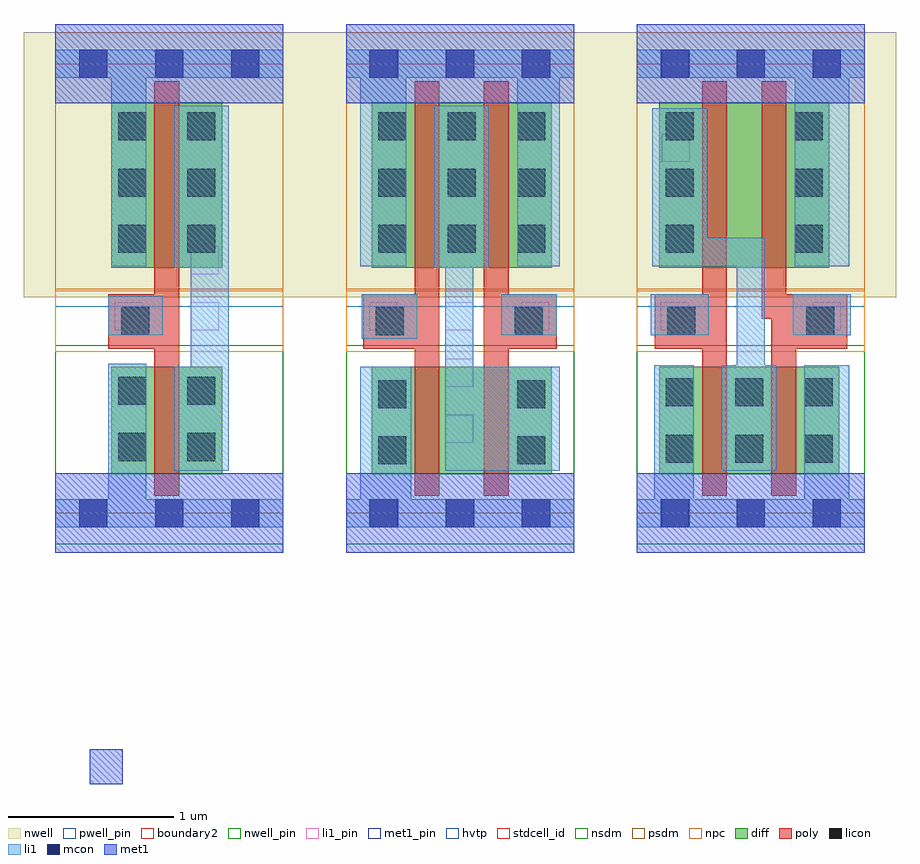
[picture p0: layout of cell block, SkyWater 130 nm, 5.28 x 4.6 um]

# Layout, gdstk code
import gdstk
lib = gdstk.Library(unit=1e-6, precision=1e-09)
def R(c, l, rs):  # rectangles x0, y0, x1, y1
    for r in rs: c.add(gdstk.rectangle(r[:2], r[2:], *l))
def A(c, l, x, y, w, h, nx, ny, dx, dy):  # array of equal rectangles
    R(c, l, [(x+i*dx, y+j*dy, x+i*dx+w, y+j*dy+h) for i in range(nx) for j in range(ny)])
def P(c, l, *ps):  # polygons
    for p in ps: c.add(gdstk.Polygon(p, *l))
nwell_pin = (64, 16)
nwell = (64, 20)
diff = (65, 20)
poly = (66, 20)
licon = (66, 44)
li1_pin = (67, 16)
li1 = (67, 20)
mcon = (67, 44)
met1_pin = (68, 16)
met1 = (68, 20)
hvtp = (78, 44)
stdcell_id = (81, 4)
nsdm = (93, 44)
psdm = (94, 20)
npc = (95, 20)
pwell_pin = (122, 16)
boundary2 = (236, 0)

sky130_fd_sc_hd__inv_1 = lib.new_cell('sky130_fd_sc_hd__inv_1')
R(sky130_fd_sc_hd__inv_1, nwell_pin, [(0.145,2.635,0.315,2.805), (0.145,2.635,0.315,2.805)])
R(sky130_fd_sc_hd__inv_1, nwell, [(-0.19,1.305,1.57,2.91)])
R(sky130_fd_sc_hd__inv_1, diff, [(0.34,0.235,1.01,0.885), (0.34,1.485,1.01,2.485)])
P(sky130_fd_sc_hd__inv_1, poly, [(0.6,0.105),(0.6,0.995),(0.32,0.995),(0.32,1.325),(0.6,1.325),(0.6,2.615),(0.75,2.615),(0.75,0.105)])
A(sky130_fd_sc_hd__inv_1, licon, 0.38, 1.575, 0.17, 0.17, 1, 3, 0, 0.34)
A(sky130_fd_sc_hd__inv_1, licon, 0.8, 1.575, 0.17, 0.17, 1, 3, 0, 0.34)
R(sky130_fd_sc_hd__inv_1, licon, [(0.38,0.315,0.55,0.485), (0.8,0.315,0.97,0.485), (0.38,0.655,0.55,0.825), (0.8,0.655,0.97,0.825), (0.4,1.075,0.57,1.245)])
R(sky130_fd_sc_hd__inv_1, li1_pin, [(0.36,1.105,0.53,1.275), (0.82,1.105,0.99,1.275), (0.82,1.445,0.99,1.615)])
R(sky130_fd_sc_hd__inv_1, li1, [(0,-0.085,1.38,0.085), (0.32,0.005,0.55,0.905), (0.32,1.075,0.65,1.315), (0.34,1.495,0.55,2.675), (0,2.635,1.38,2.805)])
P(sky130_fd_sc_hd__inv_1, li1, [(0.72,0.255),(0.72,0.885),(0.82,0.885),(0.82,1.485),(0.72,1.485),(0.72,2.465),(1.05,2.465),(1.05,0.255)])
A(sky130_fd_sc_hd__inv_1, mcon, 0.145, -0.085, 0.17, 0.17, 3, 2, 0.46, 2.72)
R(sky130_fd_sc_hd__inv_1, met1_pin, [(0.145,-0.085,0.315,0.085), (0.145,-0.085,0.315,0.085), (0.145,2.635,0.315,2.805), (0.145,2.635,0.315,2.805)])
R(sky130_fd_sc_hd__inv_1, hvtp, [(0,1.25,1.38,2.72)])
R(sky130_fd_sc_hd__inv_1, stdcell_id, [(0,0,1.38,2.72)])
R(sky130_fd_sc_hd__inv_1, nsdm, [(0,-0.19,1.38,1.015)])
R(sky130_fd_sc_hd__inv_1, psdm, [(0,1.355,1.38,2.91)])
R(sky130_fd_sc_hd__inv_1, npc, [(0,0.975,1.38,1.345)])
R(sky130_fd_sc_hd__inv_1, pwell_pin, [(0.145,-0.085,0.315,0.085), (0.145,-0.085,0.315,0.085)])
R(sky130_fd_sc_hd__inv_1, boundary2, [(0,0,1.38,2.72)])
sky130_fd_sc_hd__inv_1.add(gdstk.FlexPath([(0,2.72),(1.38,2.72)], 0.48, ends="flush", simple_path=True, layer=68, datatype=20))  # met1
sky130_fd_sc_hd__inv_1.add(gdstk.FlexPath([(0,0),(1.38,0)], 0.48, ends="flush", simple_path=True, layer=68, datatype=20))  # met1
sky130_fd_sc_hd__inv_1.add(gdstk.Label('Y', (0.905,1.53), layer=67, texttype=5))
sky130_fd_sc_hd__inv_1.add(gdstk.Label('Y', (0.905,1.19), layer=67, texttype=5))
sky130_fd_sc_hd__inv_1.add(gdstk.Label('A', (0.445,1.19), layer=67, texttype=5))
sky130_fd_sc_hd__inv_1.add(gdstk.Label('VPB', (0.23,2.72), layer=64, texttype=5))
sky130_fd_sc_hd__inv_1.add(gdstk.Label('VNB', (0.23,0), layer=64, texttype=59))
sky130_fd_sc_hd__inv_1.add(gdstk.Label('VGND', (0.23,0), layer=68, texttype=5))
sky130_fd_sc_hd__inv_1.add(gdstk.Label('VPWR', (0.23,2.72), layer=68, texttype=5))
sky130_fd_sc_hd__inv_1.add(gdstk.Label('inv_1', (0,0), layer=83, texttype=44))

sky130_fd_sc_hd__nand2_1 = lib.new_cell('sky130_fd_sc_hd__nand2_1')
R(sky130_fd_sc_hd__nand2_1, nwell_pin, [(0.14,2.635,0.31,2.805)])
R(sky130_fd_sc_hd__nand2_1, nwell, [(-0.19,1.305,1.57,2.91)])
R(sky130_fd_sc_hd__nand2_1, diff, [(0.155,0.235,1.245,0.885), (0.155,1.485,1.245,2.485)])
P(sky130_fd_sc_hd__nand2_1, poly, [(0.835,0.105),(0.835,2.615),(0.985,2.615),(0.985,1.325),(1.275,1.325),(1.275,0.995),(0.985,0.995),(0.985,0.105)],
  [(0.415,0.105),(0.415,0.995),(0.105,0.995),(0.105,1.325),(0.415,1.325),(0.415,2.615),(0.565,2.615),(0.565,0.105)])
A(sky130_fd_sc_hd__nand2_1, licon, 0.195, 1.575, 0.17, 0.17, 3, 3, 0.42, 0.34)
R(sky130_fd_sc_hd__nand2_1, licon, [(0.195,0.295,0.365,0.465), (1.035,0.295,1.205,0.465), (0.195,0.635,0.365,0.805), (1.035,0.635,1.205,0.805), (0.18,1.075,0.35,1.245), (1.02,1.075,1.19,1.245)])
A(sky130_fd_sc_hd__nand2_1, li1_pin, 0.14, 1.105, 0.17, 0.17, 3, 1, 0.46, 0)
R(sky130_fd_sc_hd__nand2_1, li1_pin, [(0.6,0.425,0.77,0.595), (0.6,0.765,0.77,0.935)])
R(sky130_fd_sc_hd__nand2_1, li1, [(0.095,1.055,0.43,1.325), (0.94,1.075,1.275,1.325)])
P(sky130_fd_sc_hd__nand2_1, li1, [(0,-0.085),(0,0.085),(0.085,0.085),(0.085,0.885),(0.395,0.885),(0.395,0.085),(1.38,0.085),(1.38,-0.085)],
  [(0.085,1.495),(0.085,2.635),(0,2.635),(0,2.805),(1.38,2.805),(1.38,2.635),(1.295,2.635),(1.295,1.495),(1.035,1.495),(1.035,2.635),(0.365,2.635),(0.365,1.495)],
  [(0.6,0.255),(0.6,1.485),(0.535,1.485),(0.535,2.465),(0.865,2.465),(0.865,1.485),(0.77,1.485),(0.77,0.885),(1.295,0.885),(1.295,0.255)])
A(sky130_fd_sc_hd__nand2_1, mcon, 0.145, -0.085, 0.17, 0.17, 3, 2, 0.46, 2.72)
R(sky130_fd_sc_hd__nand2_1, met1_pin, [(0.14,-0.085,0.31,0.085), (0.14,2.635,0.31,2.805)])
R(sky130_fd_sc_hd__nand2_1, hvtp, [(0,1.25,1.38,2.72)])
R(sky130_fd_sc_hd__nand2_1, stdcell_id, [(0,0,1.38,2.72)])
R(sky130_fd_sc_hd__nand2_1, nsdm, [(0,-0.19,1.38,1.015)])
R(sky130_fd_sc_hd__nand2_1, psdm, [(0,1.355,1.38,2.91)])
R(sky130_fd_sc_hd__nand2_1, npc, [(0,0.975,1.38,1.345)])
R(sky130_fd_sc_hd__nand2_1, pwell_pin, [(0.14,-0.085,0.31,0.085)])
R(sky130_fd_sc_hd__nand2_1, boundary2, [(0,0,1.38,2.72)])
sky130_fd_sc_hd__nand2_1.add(gdstk.FlexPath([(0,2.72),(1.38,2.72)], 0.48, ends="flush", simple_path=True, layer=68, datatype=20))  # met1
sky130_fd_sc_hd__nand2_1.add(gdstk.FlexPath([(0,0),(1.38,0)], 0.48, ends="flush", simple_path=True, layer=68, datatype=20))  # met1
sky130_fd_sc_hd__nand2_1.add(gdstk.Label('Y', (0.685,0.51), layer=67, texttype=5))
sky130_fd_sc_hd__nand2_1.add(gdstk.Label('Y', (0.685,0.85), layer=67, texttype=5))
sky130_fd_sc_hd__nand2_1.add(gdstk.Label('Y', (0.685,1.19), layer=67, texttype=5))
sky130_fd_sc_hd__nand2_1.add(gdstk.Label('B', (0.225,1.19), layer=67, texttype=5))
sky130_fd_sc_hd__nand2_1.add(gdstk.Label('A', (1.145,1.19), layer=67, texttype=5))
sky130_fd_sc_hd__nand2_1.add(gdstk.Label('VPB', (0.225,2.72), layer=64, texttype=5))
sky130_fd_sc_hd__nand2_1.add(gdstk.Label('VNB', (0.225,0), layer=64, texttype=59))
sky130_fd_sc_hd__nand2_1.add(gdstk.Label('VGND', (0.23,0), layer=68, texttype=5))
sky130_fd_sc_hd__nand2_1.add(gdstk.Label('VPWR', (0.225,2.72), layer=68, texttype=5))
sky130_fd_sc_hd__nand2_1.add(gdstk.Label('nand2_1', (0,0), layer=83, texttype=44))

sky130_fd_sc_hd__nor2_1 = lib.new_cell('sky130_fd_sc_hd__nor2_1')
R(sky130_fd_sc_hd__nor2_1, nwell_pin, [(0.15,2.635,0.32,2.805)])
R(sky130_fd_sc_hd__nor2_1, nwell, [(-0.19,1.305,1.57,2.91)])
R(sky130_fd_sc_hd__nor2_1, diff, [(0.135,0.235,1.225,0.885), (0.135,1.485,1.165,2.485)])
P(sky130_fd_sc_hd__nor2_1, poly, [(0.815,0.105),(0.815,1.175),(0.755,1.175),(0.755,2.615),(0.905,2.615),(0.905,1.325),(1.275,1.325),(1.275,0.995),(0.965,0.995),(0.965,0.105)],
  [(0.395,0.105),(0.395,0.995),(0.11,0.995),(0.11,1.325),(0.395,1.325),(0.395,2.615),(0.545,2.615),(0.545,0.105)])
A(sky130_fd_sc_hd__nor2_1, licon, 0.175, 0.305, 0.17, 0.17, 3, 2, 0.42, 0.34)
A(sky130_fd_sc_hd__nor2_1, licon, 0.175, 1.575, 0.17, 0.17, 1, 3, 0, 0.34)
A(sky130_fd_sc_hd__nor2_1, licon, 0.955, 1.575, 0.17, 0.17, 1, 3, 0, 0.34)
R(sky130_fd_sc_hd__nor2_1, licon, [(0.185,1.075,0.355,1.245), (1.025,1.075,1.195,1.245)])
R(sky130_fd_sc_hd__nor2_1, li1_pin, [(0.145,1.105,0.315,1.275), (1.065,1.105,1.235,1.275), (0.15,2.125,0.32,2.295)])
R(sky130_fd_sc_hd__nor2_1, li1, [(0.085,1.075,0.435,1.325), (0.945,1.075,1.295,1.325)])
P(sky130_fd_sc_hd__nor2_1, li1, [(0,-0.085),(0,0.085),(0.105,0.085),(0.105,0.895),(0.345,0.895),(0.345,0.085),(1.015,0.085),(1.015,0.895),(1.285,0.895),(1.285,0.085),(1.38,0.085),(1.38,-0.085)],
  [(0.955,1.495),(0.955,2.635),(0,2.635),(0,2.805),(1.38,2.805),(1.38,2.635),(1.285,2.635),(1.285,1.495)],
  [(0.515,0.255),(0.515,0.895),(0.605,0.895),(0.605,1.495),(0.095,1.495),(0.095,2.45),(0.425,2.45),(0.425,1.665),(0.775,1.665),(0.775,0.895),(0.845,0.895),(0.845,0.255)])
A(sky130_fd_sc_hd__nor2_1, mcon, 0.145, -0.085, 0.17, 0.17, 3, 2, 0.46, 2.72)
R(sky130_fd_sc_hd__nor2_1, met1_pin, [(0.15,-0.085,0.32,0.085), (0.15,2.635,0.32,2.805)])
R(sky130_fd_sc_hd__nor2_1, hvtp, [(0,1.25,1.38,2.72)])
R(sky130_fd_sc_hd__nor2_1, stdcell_id, [(0,0,1.38,2.72)])
R(sky130_fd_sc_hd__nor2_1, nsdm, [(0,-0.19,1.38,1.015)])
R(sky130_fd_sc_hd__nor2_1, psdm, [(0,1.355,1.38,2.91)])
R(sky130_fd_sc_hd__nor2_1, npc, [(0,0.975,1.38,1.345)])
R(sky130_fd_sc_hd__nor2_1, pwell_pin, [(0.15,-0.085,0.32,0.085)])
R(sky130_fd_sc_hd__nor2_1, boundary2, [(0,0,1.38,2.72)])
sky130_fd_sc_hd__nor2_1.add(gdstk.FlexPath([(0,2.72),(1.38,2.72)], 0.48, ends="flush", simple_path=True, layer=68, datatype=20))  # met1
sky130_fd_sc_hd__nor2_1.add(gdstk.FlexPath([(0,0),(1.38,0)], 0.48, ends="flush", simple_path=True, layer=68, datatype=20))  # met1
sky130_fd_sc_hd__nor2_1.add(gdstk.Label('B', (0.23,1.19), layer=67, texttype=5))
sky130_fd_sc_hd__nor2_1.add(gdstk.Label('Y', (0.235,2.21), layer=67, texttype=5))
sky130_fd_sc_hd__nor2_1.add(gdstk.Label('A', (1.15,1.19), layer=67, texttype=5))
sky130_fd_sc_hd__nor2_1.add(gdstk.Label('VPB', (0.235,2.72), layer=64, texttype=5))
sky130_fd_sc_hd__nor2_1.add(gdstk.Label('VNB', (0.235,0), layer=64, texttype=59))
sky130_fd_sc_hd__nor2_1.add(gdstk.Label('VGND', (0.23,0), layer=68, texttype=5))
sky130_fd_sc_hd__nor2_1.add(gdstk.Label('VPWR', (0.23,2.72), layer=68, texttype=5))
sky130_fd_sc_hd__nor2_1.add(gdstk.Label('nor2_1', (0,0), layer=83, texttype=44))

block = lib.new_cell('block')
R(block, met1, [(0.21,-1.64,0.41,-1.43)])
block.add(gdstk.Reference(sky130_fd_sc_hd__inv_1, (0,0)))
block.add(gdstk.Reference(sky130_fd_sc_hd__nand2_1, (1.76,0)))
block.add(gdstk.Reference(sky130_fd_sc_hd__nor2_1, (3.52,0)))

lib.write_gds('block.gds')
